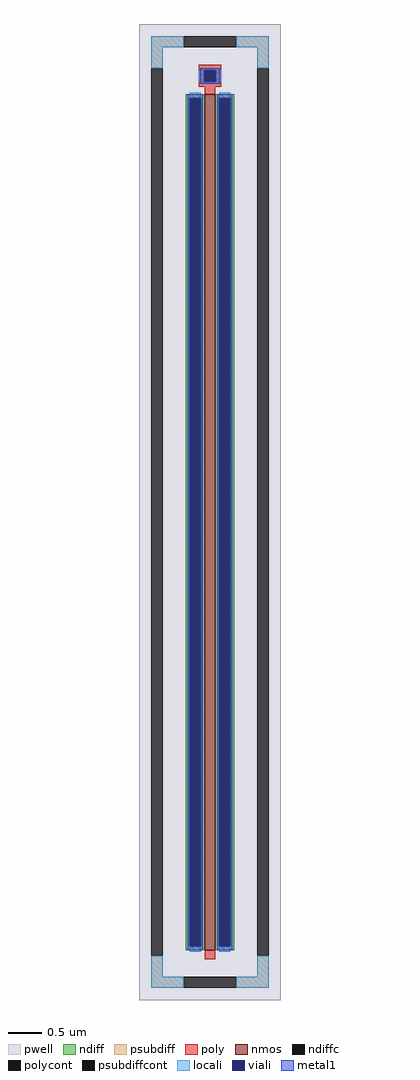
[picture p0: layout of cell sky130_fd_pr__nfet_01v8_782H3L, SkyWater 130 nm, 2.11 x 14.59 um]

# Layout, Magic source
magic
tech sky130A
magscale 1 2
<< pwell >>
rect -211 -1459 211 1459
<< nmos >>
rect -15 -1311 15 1249
<< ndiff >>
rect -73 1237 -15 1249
rect -73 -1299 -61 1237
rect -27 -1299 -15 1237
rect -73 -1311 -15 -1299
rect 15 1237 73 1249
rect 15 -1299 27 1237
rect 61 -1299 73 1237
rect 15 -1311 73 -1299
<< ndiffc >>
rect -61 -1299 -27 1237
rect 27 -1299 61 1237
<< psubdiff >>
rect -175 1389 -79 1423
rect 79 1389 175 1423
rect -175 1327 -141 1389
rect 141 1327 175 1389
rect -175 -1389 -141 -1327
rect 141 -1389 175 -1327
rect -175 -1423 -79 -1389
rect 79 -1423 175 -1389
<< psubdiffcont >>
rect -79 1389 79 1423
rect -175 -1327 -141 1327
rect 141 -1327 175 1327
rect -79 -1423 79 -1389
<< poly >>
rect -33 1321 33 1337
rect -33 1287 -17 1321
rect 17 1287 33 1321
rect -33 1271 33 1287
rect -15 1249 15 1271
rect -15 -1337 15 -1311
<< polycont >>
rect -17 1287 17 1321
<< locali >>
rect -175 1389 -79 1423
rect 79 1389 175 1423
rect -175 1327 -141 1389
rect 141 1327 175 1389
rect -33 1287 -17 1321
rect 17 1287 33 1321
rect -61 1237 -27 1253
rect -61 -1315 -27 -1299
rect 27 1237 61 1253
rect 27 -1315 61 -1299
rect -175 -1389 -141 -1327
rect 141 -1389 175 -1327
rect -175 -1423 -79 -1389
rect 79 -1423 175 -1389
<< viali >>
rect -17 1287 17 1321
rect -61 -1299 -27 1237
rect 27 -1299 61 1237
<< metal1 >>
rect -29 1321 29 1327
rect -29 1287 -17 1321
rect 17 1287 29 1321
rect -29 1281 29 1287
rect -67 1237 -21 1249
rect -67 -1299 -61 1237
rect -27 -1299 -21 1237
rect -67 -1311 -21 -1299
rect 21 1237 67 1249
rect 21 -1299 27 1237
rect 61 -1299 67 1237
rect 21 -1311 67 -1299
<< properties >>
string gencell sky130_fd_pr__nfet_01v8
string FIXED_BBOX -158 -1406 158 1406
string parameters w 12.8 l 0.150 m 1 nf 1 diffcov 100 polycov 100 guard 1 glc 1 grc 1 gtc 1 gbc 1 tbcov 100 rlcov 100 topc 1 botc 0 poverlap 0 doverlap 0 lmin 0.15 wmin 0.42 compatible {sky130_fd_pr__nfet_01v8 sky130_fd_pr__nfet_01v8_lvt  sky130_fd_bs_flash__special_sonosfet_star  sky130_fd_pr__nfet_g5v0d10v5 sky130_fd_pr__nfet_05v0_nvt} full_metal 1 viasrc 100 viadrn 100 viagate 100 viagb 0 viagr 0 viagl 0 viagt 0
string library sky130
<< end >>
